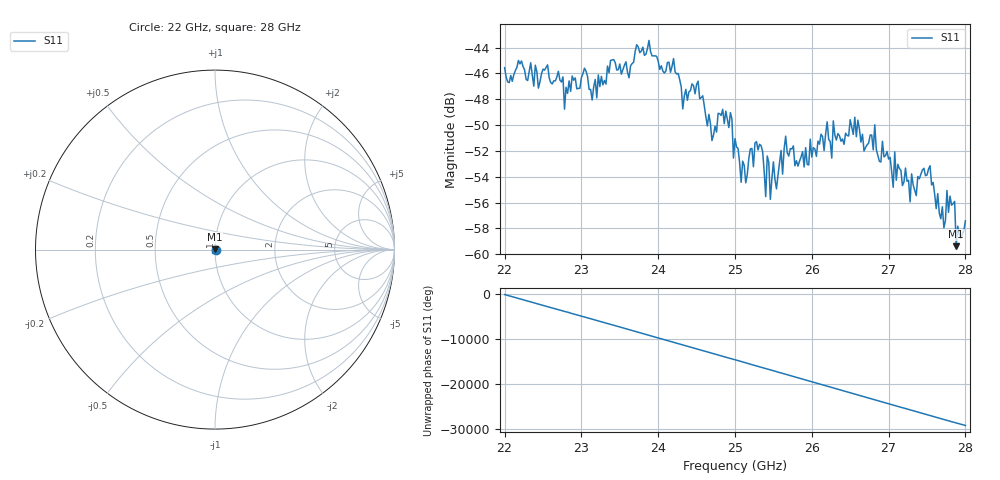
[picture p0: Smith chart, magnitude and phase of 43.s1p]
#  HZ  S  RI  R  50.00
! Rohde & Schwarz ZVA40 4Ports - Version 3.90 - 1145.1110k42 SN: 100403
! Date: 2023-10-04 07:34:11
! Measurement: S12
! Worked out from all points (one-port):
!   301 points, 22 GHz to 28 GHz, reference 50 ohm
!   lowest |S11| = -59.4 dB at 27.88 GHz (marker M1), VSWR 1.00, Z = 50 + j0.0972 ohm
!   |S11| at or under -10 dB: start of sweep to end of sweep
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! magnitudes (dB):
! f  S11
! 22 GHz  -45.6
! 22.76 GHz  -46.3
! 22.78 GHz  -48.8
! 23.5 GHz  -45.3
! 24.26 GHz  -46.0
! 24.32 GHz  -48.7
! 24.52 GHz  -46.6
! 24.7 GHz  -51.2
! 24.84 GHz  -48.8
! 25 GHz  -51.1
! 25.08 GHz  -54.4
! 25.34 GHz  -51.6
! 25.4 GHz  -55.5
! 25.42 GHz  -52.4
! 25.46 GHz  -55.8
! 25.5 GHz  -52.8
! 25.76 GHz  -51.6
! 25.96 GHz  -53.1
! 26.2 GHz  -49.7
! 26.26 GHz  -52.6
! 26.28 GHz  -49.7
! 26.5 GHz  -49.6
! 27.26 GHz  -54.3
! 27.54 GHz  -53.1
! 27.72 GHz  -58.0
! 27.86 GHz  -55.9
! 27.88 GHz  -59.4
! 28 GHz  -57.4
